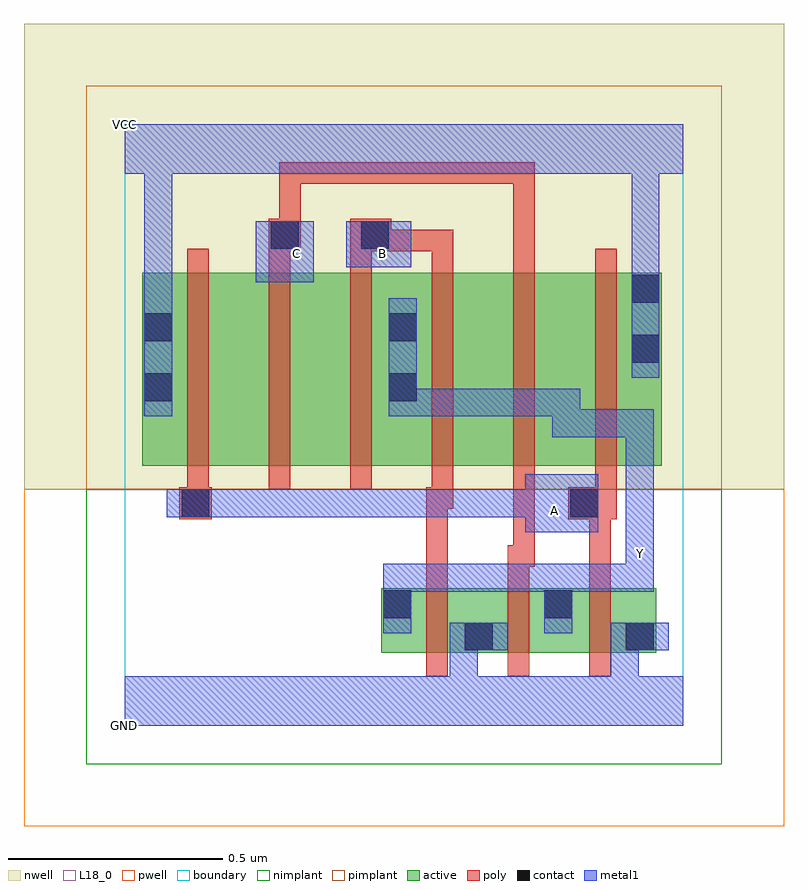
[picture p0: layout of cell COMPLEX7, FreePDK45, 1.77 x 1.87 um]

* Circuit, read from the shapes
.subckt COMPLEX7 A B C GND VCC Y
M1 GND B Y VSUBS nfet w=0.15u l=0.05u
M2 Y C GND VSUBS nfet w=0.15u l=0.05u
M3 GND A Y VSUBS nfet w=0.15u l=0.05u
M4 n1 A VCC n2 pfet w=0.45u l=0.05u
M5 n3 C n1 n2 pfet w=0.45u l=0.05u
M6 Y B n3 n2 pfet w=0.45u l=0.05u
M7 n4 B Y n2 pfet w=0.45u l=0.05u
M8 n5 C n4 n2 pfet w=0.45u l=0.05u
M9 VCC A n5 n2 pfet w=0.45u l=0.05u
.ends

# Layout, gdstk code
import gdstk
lib = gdstk.Library(unit=1e-6, precision=1e-09)
def R(c, l, rs):  # rectangles x0, y0, x1, y1
    for r in rs: c.add(gdstk.rectangle(r[:2], r[2:], *l))
def A(c, l, x, y, w, h, nx, ny, dx, dy):  # array of equal rectangles
    R(c, l, [(x+i*dx, y+j*dy, x+i*dx+w, y+j*dy+h) for i in range(nx) for j in range(ny)])
active = (1, 0)
pwell = (2, 0)
nwell = (3, 0)
nimplant = (4, 0)
pimplant = (5, 0)
poly = (9, 0)
contact = (10, 0)
metal1 = (11, 0)
L18_0 = (18, 0)
boundary = (235, 0)

complex7 = lib.new_cell('COMPLEX7')
R(complex7, active, [(0.597,0.17,0.862,0.32), (0.787,0.17,1.047,0.32), (0.787,0.17,0.862,0.275), (0.972,0.17,1.237,0.32), (1.162,0.17,1.237,0.32), (0.597,0.2,0.672,0.32), (0.972,0.2,1.047,0.32), (0.04,0.605,0.265,1.055), (0.04,0.605,0.115,1.055), (0.265,0.605,0.455,1.055), (0.455,0.605,0.685,1.055), (0.61,0.605,0.835,1.055), (0.835,0.605,1.025,1.055), (1.025,0.605,1.25,1.055), (0.61,0.625,0.685,1.055), (1.175,0.717,1.25,1.055)])
R(complex7, pwell, [(-0.235,-0.235,1.535,0.55)])
R(complex7, nwell, [(-0.235,0.55,1.535,1.635)])
R(complex7, nimplant, [(-0.09,-0.09,1.39,0.55)])
R(complex7, pimplant, [(-0.09,0.55,1.39,1.49)])
A(complex7, poly, 0.702, 0.115, 0.05, 0.26, 3, 1, 0.19, 0)
A(complex7, poly, 0.145, 0.55, 0.05, 0.56, 6, 1, 0.19, 0)
A(complex7, poly, 0.335, 1.06, 0.05, 0.095, 3, 1, 0.19, 0)
R(complex7, poly, [(0.702,0.325,0.752,0.555), (0.892,0.325,0.942,0.42), (1.082,0.325,1.132,0.53), (0.892,0.37,0.955,0.42), (0.905,0.37,0.955,0.6), (0.127,0.48,0.202,0.555), (1.032,0.48,1.145,0.555), (0.145,0.505,0.195,0.6), (0.702,0.505,0.765,0.555), (0.715,0.505,0.765,0.6), (1.095,0.505,1.145,0.6), (0.905,1.06,0.955,1.312), (0.335,1.105,0.41,1.18), (0.525,1.105,0.62,1.18), (0.57,1.105,0.765,1.155), (0.715,1.105,0.765,1.155), (0.715,1.105,0.765,1.155), (0.715,1.105,0.765,1.155), (0.36,1.13,0.41,1.18), (0.36,1.13,0.41,1.18), (0.36,1.13,0.41,1.312), (0.36,1.262,0.41,1.312), (0.36,1.262,0.62,1.312), (0.57,1.262,0.62,1.312), (0.57,1.262,0.752,1.312), (0.702,1.262,0.752,1.312), (0.702,1.262,0.752,1.312), (0.702,1.262,0.752,1.312), (0.702,1.262,0.95,1.312), (0.9,1.262,0.95,1.312), (0.9,1.262,0.95,1.312), (0.9,1.262,0.95,1.312), (0.9,1.262,0.95,1.312), (0.9,1.262,0.955,1.312)])
R(complex7, contact, [(0.792,0.175,0.857,0.24), (1.167,0.175,1.232,0.24), (0.602,0.25,0.667,0.315), (0.977,0.25,1.042,0.315), (0.132,0.485,0.197,0.55), (1.037,0.485,1.102,0.55), (0.045,0.755,0.11,0.82), (0.615,0.755,0.68,0.82), (1.18,0.845,1.245,0.91), (0.045,0.895,0.11,0.96), (0.615,0.895,0.68,0.96), (1.18,0.985,1.245,1.05), (0.34,1.11,0.405,1.175), (0.55,1.11,0.615,1.175)])
R(complex7, metal1, [(0,0,1.3,0.115), (0.757,0.05,0.822,0.24), (1.132,0.05,1.197,0.115), (1.132,0.05,1.197,0.115), (1.132,0.05,1.197,0.24), (0.757,0.175,0.822,0.24), (0.757,0.175,0.822,0.24), (0.757,0.175,0.892,0.24), (1.132,0.175,1.267,0.24), (0.602,0.215,0.667,0.35), (0.977,0.215,1.042,0.377), (0.602,0.285,0.667,0.35), (0.602,0.285,0.667,0.377), (0.602,0.312,0.86,0.377), (0.795,0.312,0.86,0.377), (0.795,0.312,0.86,0.377), (0.795,0.312,0.86,0.377), (0.795,0.312,1.042,0.377), (0.977,0.312,1.042,0.377), (0.977,0.312,1.042,0.377), (0.977,0.312,1.232,0.377), (1.167,0.312,1.232,0.377), (1.167,0.312,1.232,0.397), (1.167,0.332,1.232,0.467), (1.167,0.402,1.232,0.737), (0.932,0.45,1.102,0.585), (0.097,0.485,0.232,0.55), (0.167,0.485,0.232,0.55), (0.167,0.485,0.232,0.55), (0.167,0.485,0.37,0.55), (0.305,0.485,0.37,0.55), (0.305,0.485,0.507,0.55), (0.442,0.485,0.507,0.55), (0.442,0.485,0.507,0.55), (0.442,0.485,0.507,0.55), (0.442,0.485,0.685,0.55), (0.62,0.485,0.685,0.55), (0.62,0.485,0.685,0.55), (0.62,0.485,0.685,0.55), (0.62,0.485,0.86,0.55), (0.795,0.485,0.86,0.55), (0.795,0.485,0.86,0.55), (0.795,0.485,0.86,0.55), (0.795,0.485,0.997,0.55), (0.932,0.485,0.997,0.55), (0.932,0.485,0.997,0.55), (0.995,0.672,1.232,0.737), (0.995,0.672,1.06,0.785), (1.167,0.672,1.232,0.737), (1.167,0.672,1.232,0.737), (1.167,0.672,1.232,0.737), (0.045,0.72,0.11,0.995), (0.615,0.72,0.68,0.785), (0.615,0.72,0.68,0.785), (0.615,0.72,0.68,0.995), (0.615,0.72,0.86,0.785), (0.795,0.72,0.86,0.785), (0.795,0.72,0.86,0.785), (0.795,0.72,0.86,0.785), (0.795,0.72,1.06,0.785), (1.18,0.81,1.245,1.085), (0.045,0.93,0.11,1.35), (1.18,1.02,1.245,1.35), (0.305,1.032,0.44,1.175), (0.515,1.067,0.667,1.175), (0,1.285,1.3,1.4), (0.045,1.285,0.11,1.35), (0.045,1.285,0.11,1.35), (0.045,1.285,0.11,1.35), (0.045,1.285,0.11,1.35), (1.18,1.285,1.245,1.35), (1.18,1.285,1.245,1.35), (1.18,1.285,1.245,1.35), (1.18,1.285,1.245,1.35)])
R(complex7, L18_0, [(0,0,1.3,0.115), (0.757,0.05,0.822,0.24), (1.132,0.05,1.197,0.115), (1.132,0.05,1.197,0.115), (1.132,0.05,1.197,0.24), (0.757,0.175,0.822,0.24), (0.757,0.175,0.822,0.24), (0.757,0.175,0.892,0.24), (1.132,0.175,1.267,0.24), (0.602,0.215,0.667,0.35), (0.977,0.215,1.042,0.377), (0.602,0.285,0.667,0.35), (0.602,0.285,0.667,0.377), (0.602,0.312,0.86,0.377), (0.795,0.312,0.86,0.377), (0.795,0.312,0.86,0.377), (0.795,0.312,0.86,0.377), (0.795,0.312,1.042,0.377), (0.977,0.312,1.042,0.377), (0.977,0.312,1.042,0.377), (0.977,0.312,1.232,0.377), (1.167,0.312,1.232,0.377), (1.167,0.312,1.232,0.397), (1.167,0.332,1.232,0.467), (1.167,0.367,1.232,0.432), (1.167,0.402,1.232,0.737), (0.932,0.45,1.102,0.585), (0.967,0.467,1.032,0.532), (0.097,0.485,0.232,0.55), (0.167,0.485,0.232,0.55), (0.167,0.485,0.232,0.55), (0.167,0.485,0.37,0.55), (0.305,0.485,0.37,0.55), (0.305,0.485,0.507,0.55), (0.442,0.485,0.507,0.55), (0.442,0.485,0.507,0.55), (0.442,0.485,0.507,0.55), (0.442,0.485,0.685,0.55), (0.62,0.485,0.685,0.55), (0.62,0.485,0.685,0.55), (0.62,0.485,0.685,0.55), (0.62,0.485,0.86,0.55), (0.795,0.485,0.86,0.55), (0.795,0.485,0.86,0.55), (0.795,0.485,0.86,0.55), (0.795,0.485,0.997,0.55), (0.932,0.485,0.997,0.55), (0.932,0.485,0.997,0.55), (0.995,0.672,1.06,0.785), (0.995,0.672,1.232,0.737), (1.167,0.672,1.232,0.737), (1.167,0.672,1.232,0.737), (1.167,0.672,1.232,0.737), (0.045,0.72,0.11,0.995), (0.615,0.72,0.68,0.995), (0.615,0.72,0.68,0.785), (0.615,0.72,0.68,0.785), (0.615,0.72,0.86,0.785), (0.795,0.72,0.86,0.785), (0.795,0.72,0.86,0.785), (0.795,0.72,0.86,0.785), (0.795,0.72,1.06,0.785), (1.18,0.81,1.245,1.085), (0.045,0.93,0.11,1.35), (1.18,1.02,1.245,1.35), (0.305,1.032,0.44,1.175), (0.367,1.067,0.432,1.132), (0.515,1.067,0.667,1.175), (0.567,1.067,0.632,1.132), (0,1.285,1.3,1.4), (0.045,1.285,0.11,1.35), (0.045,1.285,0.11,1.35), (0.045,1.285,0.11,1.35), (0.045,1.285,0.11,1.35), (1.18,1.285,1.245,1.35), (1.18,1.285,1.245,1.35), (1.18,1.285,1.245,1.35), (1.18,1.285,1.245,1.35)])
R(complex7, boundary, [(0,0,1.3,1.4)])
complex7.add(gdstk.Label('A', (1,0.5), layer=11, texttype=0))
complex7.add(gdstk.Label('B', (0.6,1.1), layer=11, texttype=0))
complex7.add(gdstk.Label('C', (0.4,1.1), layer=11, texttype=0))
complex7.add(gdstk.Label('Y', (1.2,0.4), layer=11, texttype=0))
complex7.add(gdstk.Label('VCC', (0,1.4), layer=11, texttype=0))
complex7.add(gdstk.Label('GND', (0,0), layer=11, texttype=0))

lib.write_gds('COMPLEX7.gds')
